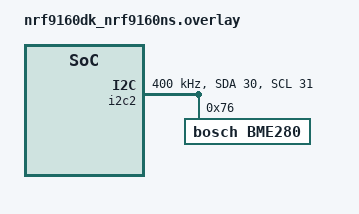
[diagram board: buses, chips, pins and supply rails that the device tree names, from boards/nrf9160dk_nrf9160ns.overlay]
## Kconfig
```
config LOG
	default y

config LOG_PRINTK
	default y

config SENSOR_LOG_LEVEL
	default 4

# Workaround for not being able to have commas in macro arguments
DT_COMPAT_BOSCH_BME280 := bosch,bme280

# Enable SPI support by default if there are any BME280 sensors
# on a SPI bus.
config SPI
	default $(dt_compat_on_bus,$(DT_COMPAT_BOSCH_BME280),spi)

# Enable I2C support by default if there are any BME280 sensors
# on an I2C bus.
config I2C
	default $(dt_compat_on_bus,$(DT_COMPAT_BOSCH_BME280),i2c)

source "Kconfig.zephyr"
```

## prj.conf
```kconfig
CONFIG_STDOUT_CONSOLE=y
CONFIG_I2C=y
CONFIG_SENSOR=y
CONFIG_BME280=y
CONFIG_I2C_2=y
CONFIG_SENSOR_LOG_LEVEL_DBG=y
CONFIG_LOG_IMMEDIATE=y
CONFIG_LOG=y
```

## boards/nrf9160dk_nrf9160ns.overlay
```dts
&i2c2 {
    compatible = "nordic,nrf-twim";
    status = "okay";
    sda-pin = <30>;
    scl-pin = <31>;
    clock-frequency = <I2C_BITRATE_FAST>;
    bme280@76 {
        compatible = "bosch,bme280";
        reg = <0x76>;
        label = "BME280";
    };
};
```

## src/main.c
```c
#include <zephyr.h>
#include <device.h>
#include <devicetree.h>
#include <drivers/sensor.h>

#define BME280 DT_INST(0, bosch_bme280)

#if DT_NODE_HAS_STATUS(BME280, okay)
#define BME280_LABEL DT_LABEL(BME280)
#else
#error Your devicetree has no enabled nodes with compatible "bosch,bme280"
#define BME280_LABEL "<none>"
#endif

void main(void)
{
	struct device *dev = device_get_binding(BME280_LABEL);

	if (dev == NULL) {
		printk("No device \"%s\" found; did initialization fail?\n",
		       BME280_LABEL);
		return;
	} else {
		printk("Found device \"%s\"\n", BME280_LABEL);
	}

	while (1) {
		struct sensor_value temp, press, humidity;

		sensor_sample_fetch(dev);
		sensor_channel_get(dev, SENSOR_CHAN_AMBIENT_TEMP, &temp);
		sensor_channel_get(dev, SENSOR_CHAN_PRESS, &press);
		sensor_channel_get(dev, SENSOR_CHAN_HUMIDITY, &humidity);

		printk("temp: %d.%06d; press: %d.%06d; humidity: %d.%06d\n",
		      temp.val1, temp.val2, press.val1, press.val2,
		      humidity.val1, humidity.val2);

		k_sleep(K_MSEC(1000));
	}
}
```
